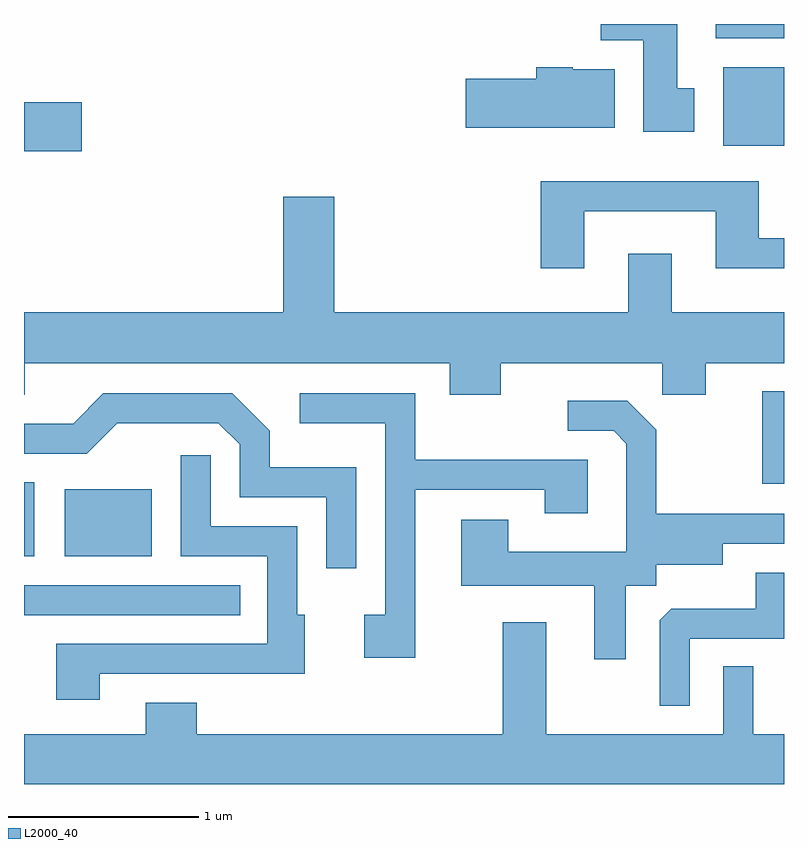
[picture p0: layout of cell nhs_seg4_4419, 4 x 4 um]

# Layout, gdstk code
import gdstk
lib = gdstk.Library(unit=1e-6, precision=1e-09)
def R(c, l, rs):  # rectangles x0, y0, x1, y1
    for r in rs: c.add(gdstk.rectangle(r[:2], r[2:], *l))
def P(c, l, *ps):  # polygons
    for p in ps: c.add(gdstk.Polygon(p, *l))
L2000_40 = (2000, 40)

nhs_seg4_4419 = lib.new_cell('nhs_seg4_4419')
R(nhs_seg4_4419, L2000_40, [(313.611,1388.871,314.748,1389.029), (313.611,1389.181,313.664,1389.569), (313.826,1389.181,314.284,1389.534), (317.496,1389.561,317.611,1390.048), (313.611,1391.311,313.914,1391.569), (317.291,1391.341,317.611,1391.754), (317.251,1391.906,317.611,1391.982)])
P(nhs_seg4_4419, L2000_40, [(317.139,1391.644),(317.049,1391.644),(317.049,1391.982),(316.646,1391.982),(316.646,1391.896),(316.871,1391.896),(316.871,1391.416),(317.139,1391.416)],
  [(316.719,1391.744),(316.5,1391.744),(316.5,1391.754),(316.306,1391.754),(316.306,1391.694),(315.936,1391.694),(315.936,1391.436),(316.719,1391.436)],
  [(316.559,1390.996),(317.251,1390.996),(317.251,1390.696),(317.611,1390.696),(317.611,1390.854),(317.479,1390.854),(317.479,1391.154),(316.331,1391.154),(316.331,1390.696),(316.559,1390.696)],
  [(313.614,1390.196),(315.851,1390.196),(315.851,1390.031),(316.119,1390.031),(316.119,1390.196),(316.971,1390.196),(316.971,1390.031),(317.199,1390.031),(317.199,1390.196),(317.611,1390.196),(317.611,1390.464),(317.019,1390.464),(317.019,1390.774),(316.791,1390.774),(316.791,1390.464),(315.244,1390.464),(315.244,1391.074),(314.976,1391.074),(314.976,1390.464),(313.611,1390.464),(313.611,1390.031),(313.614,1390.031)],
  [(315.359,1389.649),(314.904,1389.649),(314.904,1389.842),(314.707,1390.039),(314.029,1390.039),(313.869,1389.879),(313.611,1389.879),(313.611,1389.721),(313.942,1389.721),(314.102,1389.881),(314.634,1389.881),(314.746,1389.769),(314.746,1389.491),(315.201,1389.491),(315.201,1389.118),(315.359,1389.118)],
  [(315.669,1389.531),(316.351,1389.531),(316.351,1389.406),(316.579,1389.406),(316.579,1389.689),(315.669,1389.689),(315.669,1390.039),(315.063,1390.039),(315.063,1389.881),(315.511,1389.881),(315.511,1388.874),(315.401,1388.874),(315.401,1388.646),(315.669,1388.646)],
  [(316.779,1389.026),(316.939,1389.026),(316.939,1389.136),(317.289,1389.136),(317.289,1389.246),(317.611,1389.246),(317.611,1389.404),(316.939,1389.404),(316.939,1389.847),(316.787,1389.999),(316.473,1389.999),(316.473,1389.841),(316.714,1389.841),(316.781,1389.774),(316.781,1389.204),(316.159,1389.204),(316.159,1389.374),(315.911,1389.374),(315.911,1389.026),(316.611,1389.026),(316.611,1388.638),(316.779,1388.638)],
  [(314.009,1388.561),(315.089,1388.561),(315.089,1388.874),(315.049,1388.874),(315.049,1389.339),(314.594,1389.339),(314.594,1389.713),(314.436,1389.713),(314.436,1389.181),(314.891,1389.181),(314.891,1388.719),(313.781,1388.719),(313.781,1388.426),(314.009,1388.426)],
  [(317.114,1388.746),(317.611,1388.746),(317.611,1389.094),(317.461,1389.094),(317.461,1388.904),(317.017,1388.904),(316.956,1388.844),(316.956,1388.393),(317.114,1388.393)],
  [(314.519,1388.409),(314.251,1388.409),(314.251,1388.244),(313.611,1388.244),(313.611,1387.982),(317.611,1387.982),(317.611,1388.244),(317.449,1388.244),(317.449,1388.603),(317.291,1388.603),(317.291,1388.244),(316.359,1388.244),(316.359,1388.834),(316.131,1388.834),(316.131,1388.244),(314.519,1388.244)])

lib.write_gds('nhs_seg4_4419.gds')
